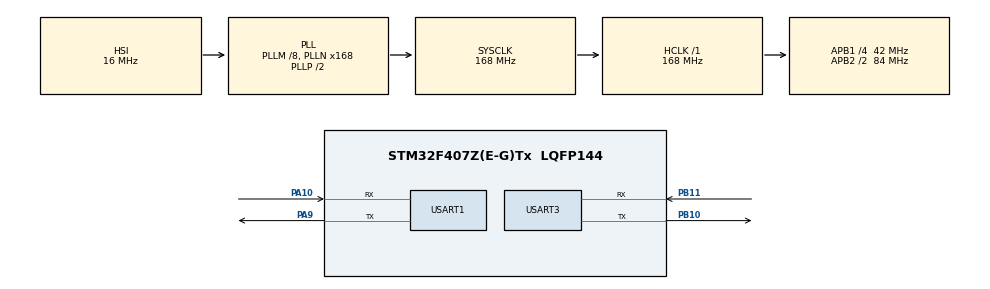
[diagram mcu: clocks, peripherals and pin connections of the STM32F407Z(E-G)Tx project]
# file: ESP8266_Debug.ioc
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Dma.Request0=USART1_RX
Dma.Request1=USART3_RX
Dma.Request2=USART3_TX
Dma.USART1_RX.0.Direction=DMA_PERIPH_TO_MEMORY
Dma.USART1_RX.0.FIFOMode=DMA_FIFOMODE_DISABLE
Dma.USART1_RX.0.Instance=DMA2_Stream2
Dma.USART1_RX.0.MemDataAlignment=DMA_MDATAALIGN_BYTE
Dma.USART1_RX.0.MemInc=DMA_MINC_ENABLE
Dma.USART1_RX.0.Mode=DMA_NORMAL
Dma.USART1_RX.0.PeriphDataAlignment=DMA_PDATAALIGN_BYTE
Dma.USART1_RX.0.PeriphInc=DMA_PINC_DISABLE
Dma.USART1_RX.0.Priority=DMA_PRIORITY_LOW
Dma.USART3_RX.1.Direction=DMA_PERIPH_TO_MEMORY
Dma.USART3_RX.1.FIFOMode=DMA_FIFOMODE_DISABLE
Dma.USART3_RX.1.Instance=DMA1_Stream1
Dma.USART3_RX.1.MemDataAlignment=DMA_MDATAALIGN_BYTE
Dma.USART3_RX.1.MemInc=DMA_MINC_ENABLE
Dma.USART3_RX.1.Mode=DMA_NORMAL
Dma.USART3_RX.1.PeriphDataAlignment=DMA_PDATAALIGN_BYTE
Dma.USART3_RX.1.PeriphInc=DMA_PINC_DISABLE
Dma.USART3_RX.1.Priority=DMA_PRIORITY_LOW
Dma.USART3_TX.2.Direction=DMA_MEMORY_TO_PERIPH
Dma.USART3_TX.2.FIFOMode=DMA_FIFOMODE_DISABLE
Dma.USART3_TX.2.Instance=DMA1_Stream3
Dma.USART3_TX.2.MemDataAlignment=DMA_MDATAALIGN_BYTE
Dma.USART3_TX.2.MemInc=DMA_MINC_ENABLE
Dma.USART3_TX.2.Mode=DMA_NORMAL
Dma.USART3_TX.2.PeriphDataAlignment=DMA_PDATAALIGN_BYTE
Dma.USART3_TX.2.PeriphInc=DMA_PINC_DISABLE
Dma.USART3_TX.2.Priority=DMA_PRIORITY_LOW
Mcu.Family=STM32F4
Mcu.Name=STM32F407Z(E-G)Tx
Mcu.Package=LQFP144
NVIC.DMA1_Stream1_IRQn=true\:0\:0\:false\:false\:true\:false\:true\:true
NVIC.DMA1_Stream3_IRQn=true\:0\:0\:false\:false\:true\:false\:true\:true
NVIC.DMA2_Stream2_IRQn=true\:0\:0\:false\:false\:true\:false\:true\:true
NVIC.PriorityGroup=NVIC_PRIORITYGROUP_4
NVIC.USART1_IRQn=true\:0\:0\:false\:false\:true\:true\:true\:true
NVIC.USART3_IRQn=true\:0\:0\:false\:false\:true\:false\:true\:true
PA10.Mode=Asynchronous
PA10.Signal=USART1_RX
PA13.Mode=Serial_Wire
PA13.Signal=SYS_JTMS-SWDIO
PA14.Mode=Serial_Wire
PA14.Signal=SYS_JTCK-SWCLK
PA9.Mode=Asynchronous
PA9.Signal=USART1_TX
PB10.Mode=Asynchronous
PB10.Signal=USART3_TX
PB11.Mode=Asynchronous
PB11.Signal=USART3_RX
PH0-OSC_IN.Mode=HSE-External-Oscillator
PH0-OSC_IN.Signal=RCC_OSC_IN
PH1-OSC_OUT.Mode=HSE-External-Oscillator
PH1-OSC_OUT.Signal=RCC_OSC_OUT
ProjectManager.HeapSize=0x200
ProjectManager.StackSize=0x400
ProjectManager.TargetToolchain=STM32CubeIDE
RCC.48MHZClocksFreq_Value=84000000
RCC.AHBFreq_Value=168000000
RCC.APB1CLKDivider=RCC_HCLK_DIV4
RCC.APB1Freq_Value=42000000
RCC.APB1TimFreq_Value=84000000
RCC.APB2CLKDivider=RCC_HCLK_DIV2
RCC.APB2Freq_Value=84000000
RCC.APB2TimFreq_Value=168000000
RCC.CortexFreq_Value=168000000
RCC.HCLKFreq_Value=168000000
RCC.HSE_VALUE=8000000
RCC.HSI_VALUE=16000000
RCC.LSE_VALUE=32768
RCC.PLLM=8
RCC.PLLN=168
RCC.SYSCLKFreq_VALUE=168000000
RCC.SYSCLKSource=RCC_SYSCLKSOURCE_PLLCLK
RCC.VCOOutputFreq_Value=336000000
USART1.VirtualMode=VM_ASYNC
USART3.VirtualMode=VM_ASYNC
board=custom

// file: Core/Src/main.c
/* USER CODE BEGIN Header */
/**
  ******************************************************************************
  * @file           : main.c
  * @brief          : Main program body
  ******************************************************************************
  * @attention
  *
  * Copyright (c) 2026 STMicroelectronics.
  * All rights reserved.
  *
  * This software is licensed under terms that can be found in the LICENSE file
  * in the root directory of this software component.
  * If no LICENSE file comes with this software, it is provided AS-IS.
  *
  ******************************************************************************
  */
/* USER CODE END Header */
#include "main.h"
#include "dma.h"
#include "usart.h"
#include "gpio.h"

/* USER CODE BEGIN Includes */
#include <stdio.h>
/* USER CODE END Includes */

/* USER CODE BEGIN PV */
#define BUFFER_SIZE 512
uint8_t uart1_rx_buf[BUFFER_SIZE];
uint8_t uart3_rx_buf[BUFFER_SIZE];
volatile uint16_t uart1_rx_len = 0;
volatile uint16_t uart3_rx_len = 0;
/* USER CODE END PV */

void SystemClock_Config(void);

int main(void)
{

  /* MCU Configuration--------------------------------------------------------*/

  /* Reset of all peripherals, Initializes the Flash interface and the Systick. */
  HAL_Init();

  /* Configure the system clock */
  SystemClock_Config();

  /* Initialize all configured peripherals */
  MX_GPIO_Init();
  MX_DMA_Init();
  MX_USART1_UART_Init();
  MX_USART3_UART_Init();
  /* USER CODE BEGIN 2 */
  HAL_UART_Receive_DMA(&huart1, uart1_rx_buf, BUFFER_SIZE);
  HAL_UART_Receive_DMA(&huart3, uart3_rx_buf, BUFFER_SIZE);
  __HAL_UART_ENABLE_IT(&huart1, UART_IT_IDLE);
  __HAL_UART_ENABLE_IT(&huart3, UART_IT_IDLE);
  printf("ESP8266 Test Board Init OK\r\n");
  /* USER CODE END 2 */

  /* Infinite loop */
  while (1)
  {

    /* USER CODE BEGIN 3 */
    /* USART1 (电脑) -> USART3 (ESP8266): 末尾追加 \r\n 让 AT 命令能成行 */
    if (uart1_rx_len > 0) {
      if (uart1_rx_len < BUFFER_SIZE - 2) {
        uart1_rx_buf[uart1_rx_len++] = '\r';
        uart1_rx_buf[uart1_rx_len++] = '\n';
      }
      HAL_UART_Transmit(&huart3, uart1_rx_buf, uart1_rx_len, 100);
      uart1_rx_len = 0;
      HAL_UART_Receive_DMA(&huart1, uart1_rx_buf, BUFFER_SIZE);
      __HAL_UART_ENABLE_IT(&huart1, UART_IT_IDLE);
    }
    /* USART3 (ESP8266) -> USART1 (电脑): ESP8266 响应已经是完整行 */
    if (uart3_rx_len > 0) {
      HAL_UART_Transmit(&huart1, uart3_rx_buf, uart3_rx_len, 100);
      uart3_rx_len = 0;
      HAL_UART_Receive_DMA(&huart3, uart3_rx_buf, BUFFER_SIZE);
      __HAL_UART_ENABLE_IT(&huart3, UART_IT_IDLE);
    }
    /* USER CODE END 3 */
  }
}

void SystemClock_Config(void)
{
  RCC_OscInitTypeDef RCC_OscInitStruct = {0};
  RCC_ClkInitTypeDef RCC_ClkInitStruct = {0};

  /** Configure the main internal regulator output voltage
  */
  __HAL_RCC_PWR_CLK_ENABLE();
  __HAL_PWR_VOLTAGESCALING_CONFIG(PWR_REGULATOR_VOLTAGE_SCALE1);

  /** Initializes the RCC Oscillators according to the specified parameters
  * in the RCC_OscInitTypeDef structure.
  */
  RCC_OscInitStruct.OscillatorType = RCC_OSCILLATORTYPE_HSI;
  RCC_OscInitStruct.HSIState = RCC_HSI_ON;
  RCC_OscInitStruct.HSICalibrationValue = RCC_HSICALIBRATION_DEFAULT;
  RCC_OscInitStruct.PLL.PLLState = RCC_PLL_ON;
  RCC_OscInitStruct.PLL.PLLSource = RCC_PLLSOURCE_HSI;
  RCC_OscInitStruct.PLL.PLLM = 8;
  RCC_OscInitStruct.PLL.PLLN = 168;
  RCC_OscInitStruct.PLL.PLLP = RCC_PLLP_DIV2;
  RCC_OscInitStruct.PLL.PLLQ = 4;
  if (HAL_RCC_OscConfig(&RCC_OscInitStruct) != HAL_OK)
  {
    Error_Handler();
  }

  /** Initializes the CPU, AHB and APB buses clocks
  */
  RCC_ClkInitStruct.ClockType = RCC_CLOCKTYPE_HCLK|RCC_CLOCKTYPE_SYSCLK
                              |RCC_CLOCKTYPE_PCLK1|RCC_CLOCKTYPE_PCLK2;
  RCC_ClkInitStruct.SYSCLKSource = RCC_SYSCLKSOURCE_PLLCLK;
  RCC_ClkInitStruct.AHBCLKDivider = RCC_SYSCLK_DIV1;
  RCC_ClkInitStruct.APB1CLKDivider = RCC_HCLK_DIV4;
  RCC_ClkInitStruct.APB2CLKDivider = RCC_HCLK_DIV2;

  if (HAL_RCC_ClockConfig(&RCC_ClkInitStruct, FLASH_LATENCY_5) != HAL_OK)
  {
    Error_Handler();
  }
}

void Error_Handler(void)
{
  __disable_irq();
  while (1)
  {
  }
}
